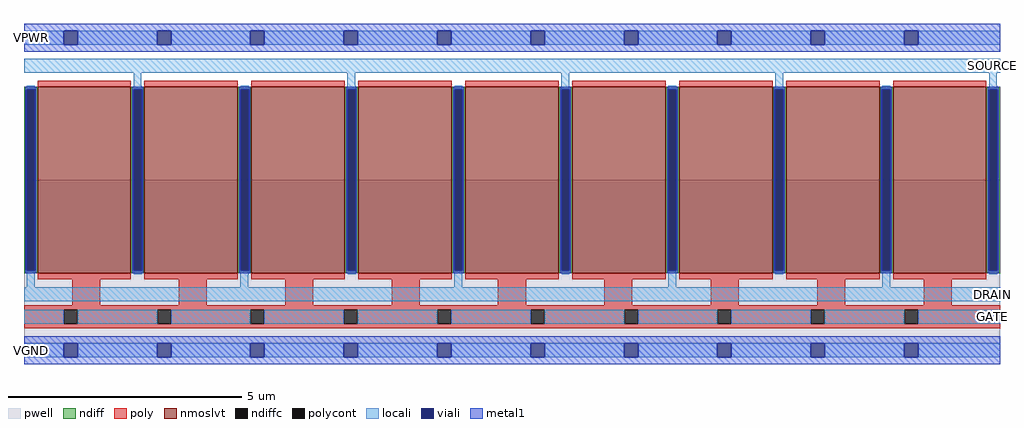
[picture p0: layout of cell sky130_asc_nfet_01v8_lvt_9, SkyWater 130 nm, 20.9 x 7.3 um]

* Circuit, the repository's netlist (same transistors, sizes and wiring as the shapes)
* NGSPICE file created from sky130_asc_nfet_01v8_lvt_9.ext - technology: sky130A

.subckt sky130_asc_nfet_01v8_lvt_9 GATE SOURCE DRAIN VPWR VGND
X0 SOURCE GATE DRAIN VGND sky130_fd_pr__nfet_01v8_lvt ad=5.8e+12p pd=4.29e+07u as=5.8e+12p ps=4.29e+07u w=4e+06u l=2e+06u
X1 DRAIN GATE SOURCE VGND sky130_fd_pr__nfet_01v8_lvt ad=0p pd=0u as=0p ps=0u w=4e+06u l=2e+06u
X2 SOURCE GATE DRAIN VGND sky130_fd_pr__nfet_01v8_lvt ad=0p pd=0u as=0p ps=0u w=4e+06u l=2e+06u
X3 DRAIN GATE SOURCE VGND sky130_fd_pr__nfet_01v8_lvt ad=0p pd=0u as=0p ps=0u w=4e+06u l=2e+06u
X4 SOURCE GATE DRAIN VGND sky130_fd_pr__nfet_01v8_lvt ad=0p pd=0u as=0p ps=0u w=4e+06u l=2e+06u
X5 DRAIN GATE SOURCE VGND sky130_fd_pr__nfet_01v8_lvt ad=0p pd=0u as=0p ps=0u w=4e+06u l=2e+06u
X6 SOURCE GATE DRAIN VGND sky130_fd_pr__nfet_01v8_lvt ad=0p pd=0u as=0p ps=0u w=4e+06u l=2e+06u
X7 SOURCE GATE DRAIN VGND sky130_fd_pr__nfet_01v8_lvt ad=0p pd=0u as=0p ps=0u w=4e+06u l=2e+06u
X8 DRAIN GATE SOURCE VGND sky130_fd_pr__nfet_01v8_lvt ad=0p pd=0u as=0p ps=0u w=4e+06u l=2e+06u
.ends

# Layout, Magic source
magic
tech sky130A
magscale 1 2
<< pwell >>
rect 120 30 4300 730
<< nmoslvt >>
rect 178 330 578 1130
rect 636 330 1036 1130
rect 1094 330 1494 1130
rect 1552 330 1952 1130
rect 2010 330 2410 1130
rect 2468 330 2868 1130
rect 2926 330 3326 1130
rect 3384 330 3784 1130
rect 3842 330 4242 1130
<< ndiff >>
rect 120 1118 178 1130
rect 120 342 132 1118
rect 166 342 178 1118
rect 120 330 178 342
rect 578 1118 636 1130
rect 578 342 590 1118
rect 624 342 636 1118
rect 578 330 636 342
rect 1036 1118 1094 1130
rect 1036 342 1048 1118
rect 1082 342 1094 1118
rect 1036 330 1094 342
rect 1494 1118 1552 1130
rect 1494 342 1506 1118
rect 1540 342 1552 1118
rect 1494 330 1552 342
rect 1952 1118 2010 1130
rect 1952 342 1964 1118
rect 1998 342 2010 1118
rect 1952 330 2010 342
rect 2410 1118 2468 1130
rect 2410 342 2422 1118
rect 2456 342 2468 1118
rect 2410 330 2468 342
rect 2868 1118 2926 1130
rect 2868 342 2880 1118
rect 2914 342 2926 1118
rect 2868 330 2926 342
rect 3326 1118 3384 1130
rect 3326 342 3338 1118
rect 3372 342 3384 1118
rect 3326 330 3384 342
rect 3784 1118 3842 1130
rect 3784 342 3796 1118
rect 3830 342 3842 1118
rect 3784 330 3842 342
rect 4242 1118 4300 1130
rect 4242 342 4254 1118
rect 4288 342 4300 1118
rect 4242 330 4300 342
<< ndiffc >>
rect 132 342 166 1118
rect 590 342 624 1118
rect 1048 342 1082 1118
rect 1506 342 1540 1118
rect 1964 342 1998 1118
rect 2422 342 2456 1118
rect 2880 342 2914 1118
rect 3338 342 3372 1118
rect 3796 342 3830 1118
rect 4254 342 4288 1118
<< poly >>
rect 178 1130 578 1156
rect 636 1130 1036 1156
rect 1094 1130 1494 1156
rect 1552 1130 1952 1156
rect 2010 1130 2410 1156
rect 2468 1130 2868 1156
rect 2926 1130 3326 1156
rect 3384 1130 3784 1156
rect 3842 1130 4242 1156
rect 178 304 578 330
rect 636 304 1036 330
rect 1094 304 1494 330
rect 1552 304 1952 330
rect 2010 304 2410 330
rect 2468 304 2868 330
rect 2926 304 3326 330
rect 3384 304 3784 330
rect 3842 304 4242 330
rect 326 194 446 304
rect 782 194 902 304
rect 1238 194 1358 304
rect 1694 194 1814 304
rect 2150 194 2270 304
rect 2606 194 2726 304
rect 3062 194 3182 304
rect 3518 194 3638 304
rect 3974 194 4094 304
rect 120 174 4300 194
rect 120 114 290 174
rect 350 114 690 174
rect 750 114 1090 174
rect 1150 114 1490 174
rect 1550 114 1890 174
rect 1950 114 2290 174
rect 2350 114 2690 174
rect 2750 114 3090 174
rect 3150 114 3490 174
rect 3550 114 3890 174
rect 3950 114 4300 174
rect 120 94 4300 114
<< polycont >>
rect 290 114 350 174
rect 690 114 750 174
rect 1090 114 1150 174
rect 1490 114 1550 174
rect 1890 114 1950 174
rect 2290 114 2350 174
rect 2690 114 2750 174
rect 3090 114 3150 174
rect 3490 114 3550 174
rect 3890 114 3950 174
<< locali >>
rect 120 1310 290 1370
rect 350 1310 690 1370
rect 750 1310 1090 1370
rect 1150 1310 1490 1370
rect 1550 1310 1890 1370
rect 1950 1310 2290 1370
rect 2350 1310 2690 1370
rect 2750 1310 3090 1370
rect 3150 1310 3490 1370
rect 3550 1310 3890 1370
rect 3950 1310 4300 1370
rect 120 1190 4300 1250
rect 589 1134 623 1190
rect 1505 1134 1539 1190
rect 2421 1134 2455 1190
rect 3337 1134 3371 1190
rect 4253 1134 4287 1190
rect 132 1118 166 1134
rect 131 342 132 384
rect 589 1118 624 1134
rect 589 1076 590 1118
rect 131 326 166 342
rect 1048 1118 1082 1134
rect 590 326 624 342
rect 1047 342 1048 384
rect 1505 1118 1540 1134
rect 1505 1076 1506 1118
rect 1047 326 1082 342
rect 1964 1118 1998 1134
rect 1506 326 1540 342
rect 1963 342 1964 384
rect 2421 1118 2456 1134
rect 2421 1076 2422 1118
rect 1963 326 1998 342
rect 2880 1118 2914 1134
rect 2422 326 2456 342
rect 2879 342 2880 384
rect 3337 1118 3372 1134
rect 3337 1076 3338 1118
rect 2879 326 2914 342
rect 3796 1118 3830 1134
rect 3338 326 3372 342
rect 3795 342 3796 384
rect 4253 1118 4288 1134
rect 4253 1076 4254 1118
rect 3795 326 3830 342
rect 4254 326 4288 342
rect 131 270 165 326
rect 1047 270 1081 326
rect 1963 270 1997 326
rect 2879 270 2913 326
rect 3795 270 3829 326
rect 120 210 4300 270
rect 120 114 290 174
rect 350 114 690 174
rect 750 114 1090 174
rect 1150 114 1490 174
rect 1550 114 1890 174
rect 1950 114 2290 174
rect 2350 114 2690 174
rect 2750 114 3090 174
rect 3150 114 3490 174
rect 3550 114 3890 174
rect 3950 114 4300 174
rect 120 -30 290 30
rect 350 -30 690 30
rect 750 -30 1090 30
rect 1150 -30 1490 30
rect 1550 -30 1890 30
rect 1950 -30 2290 30
rect 2350 -30 2690 30
rect 2750 -30 3090 30
rect 3150 -30 3490 30
rect 3550 -30 3890 30
rect 3950 -30 4300 30
<< viali >>
rect 290 1310 350 1370
rect 690 1310 750 1370
rect 1090 1310 1150 1370
rect 1490 1310 1550 1370
rect 1890 1310 1950 1370
rect 2290 1310 2350 1370
rect 2690 1310 2750 1370
rect 3090 1310 3150 1370
rect 3490 1310 3550 1370
rect 3890 1310 3950 1370
rect 132 342 166 1118
rect 590 342 624 1118
rect 1048 342 1082 1118
rect 1506 342 1540 1118
rect 1964 342 1998 1118
rect 2422 342 2456 1118
rect 2880 342 2914 1118
rect 3338 342 3372 1118
rect 3796 342 3830 1118
rect 4254 342 4288 1118
rect 290 -30 350 30
rect 690 -30 750 30
rect 1090 -30 1150 30
rect 1490 -30 1550 30
rect 1890 -30 1950 30
rect 2290 -30 2350 30
rect 2690 -30 2750 30
rect 3090 -30 3150 30
rect 3490 -30 3550 30
rect 3890 -30 3950 30
<< metal1 >>
rect 120 1370 4300 1400
rect 120 1310 290 1370
rect 350 1310 690 1370
rect 750 1310 1090 1370
rect 1150 1310 1490 1370
rect 1550 1310 1890 1370
rect 1950 1310 2290 1370
rect 2350 1310 2690 1370
rect 2750 1310 3090 1370
rect 3150 1310 3490 1370
rect 3550 1310 3890 1370
rect 3950 1310 4300 1370
rect 120 1280 4300 1310
rect 126 1118 172 1130
rect 126 342 132 1118
rect 166 342 172 1118
rect 126 330 172 342
rect 584 1118 630 1130
rect 584 342 590 1118
rect 624 342 630 1118
rect 584 330 630 342
rect 1042 1118 1088 1130
rect 1042 342 1048 1118
rect 1082 342 1088 1118
rect 1042 330 1088 342
rect 1500 1118 1546 1130
rect 1500 342 1506 1118
rect 1540 342 1546 1118
rect 1500 330 1546 342
rect 1958 1118 2004 1130
rect 1958 342 1964 1118
rect 1998 342 2004 1118
rect 1958 330 2004 342
rect 2416 1118 2462 1130
rect 2416 342 2422 1118
rect 2456 342 2462 1118
rect 2416 330 2462 342
rect 2874 1118 2920 1130
rect 2874 342 2880 1118
rect 2914 342 2920 1118
rect 2874 330 2920 342
rect 3332 1118 3378 1130
rect 3332 342 3338 1118
rect 3372 342 3378 1118
rect 3332 330 3378 342
rect 3790 1118 3836 1130
rect 3790 342 3796 1118
rect 3830 342 3836 1118
rect 3790 330 3836 342
rect 4248 1118 4294 1130
rect 4248 342 4254 1118
rect 4288 342 4294 1118
rect 4248 330 4294 342
rect 120 30 4300 60
rect 120 -30 290 30
rect 350 -30 690 30
rect 750 -30 1090 30
rect 1150 -30 1490 30
rect 1550 -30 1890 30
rect 1950 -30 2290 30
rect 2350 -30 2690 30
rect 2750 -30 3090 30
rect 3150 -30 3490 30
rect 3550 -30 3890 30
rect 3950 -30 4300 30
rect 120 -60 4300 -30
<< labels >>
flabel metal1 120 1310 180 1370 1 FreeSans 480 0 0 0 VPWR
port 4 n power bidirectional
flabel metal1 120 -30 180 30 1 FreeSans 480 0 0 0 VGND
port 5 n ground bidirectional
flabel locali 4240 1190 4300 1250 1 FreeSans 480 0 0 0 SOURCE
port 2 n default bidirectional
flabel locali 4240 210 4300 270 1 FreeSans 480 0 0 0 DRAIN
port 3 n default bidirectional
flabel locali 4240 114 4300 174 1 FreeSans 480 0 0 0 GATE
port 1 n default bidirectional
<< properties >>
string FIXED_BBOX 0 0 4518 1880
string LEFclass CORE
string LEFsite unitasc
<< end >>
